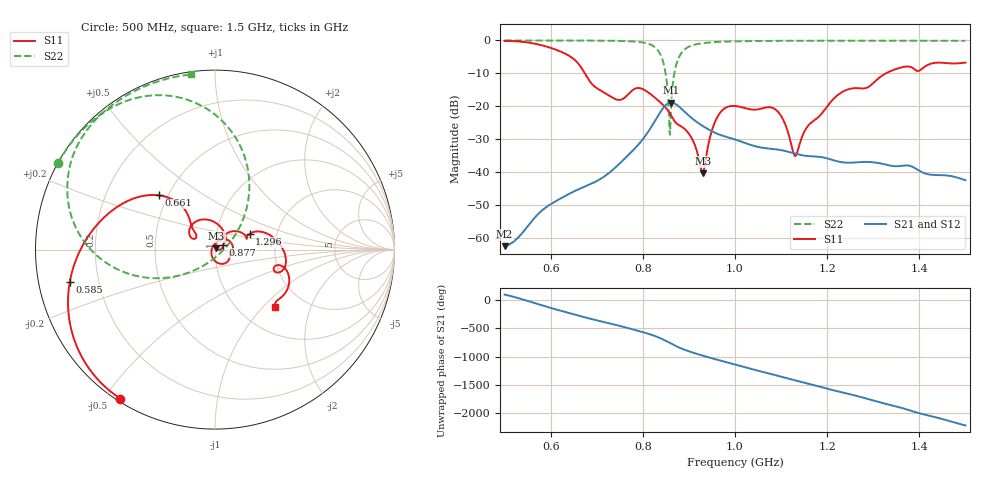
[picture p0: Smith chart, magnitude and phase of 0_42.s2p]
! TOUCHSTONE file generated by CST MICROWAVE STUDIO
! Date and time: Sat Oct 24 11:17:44 2020
! Project name: Scenario_1_Circular_Tissue_in_Line.cst
! Parameters = {L_HA=400; MT=2.54; Rad_Dielectric=30; Rad_Lower=7.3; Rad_Upper=30; a_HA=580; a_WG=246; b_HA=500; b_WG=121; c_HA=0; c_WG=187; d_feed=85; dx1=883.12; h_feed=15; h_lower=18; h_upper=40}
! Header version: 2018
! Port assignment regex: !\s*Touchstone port\s*([0-9]+)\s*=\s*(CST MWS port|CST DS port)\s*([0-9]+|Zmin|Zmax)\s*\(\"(.*)\"\)(\s*mode\s*([0-9]+))?.*
! Touchstone port assignment:
! Touchstone port 1 = CST MWS port 1 ("")
! Touchstone port 2 = CST MWS port 2 ("")
# GHz S DB R 50
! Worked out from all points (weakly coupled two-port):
!   1003 points, 500 MHz to 1.5 GHz, reference 50 ohm
!   highest |S21| = -18.88 dB at 861 MHz (marker M1); lowest = -62.5 dB at 500 MHz (marker M2)
!   lowest |S11| = -40.4 dB at 930 MHz (marker M3), VSWR 1.02, Z = 50.7 + j0.628 ohm
!   |S11| at or under -10 dB: 674 MHz to 1.328 GHz (653.5 MHz wide, 65.3 % of centre)
!   |S22| runs from -28.7 to 0.0 dB; largest |S21 - S12| = 1.1e-05
!   S11 on the Smith chart (normalised r, x): 500 MHz: 0.01, -0.55; 585 MHz: 0.09, -0.11; 661 MHz: 0.45, +0.33; 877 MHz: 1.09, +0.06; 1.296 GHz: 1.45, +0.27; 1.5 GHz: 1.43, -1.17
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0.5  -0.15 -122.5  -62.51 89.5  -62.51 89.5  -0.01 151.1
0.585  -1.63 -167.5  -51.22 -109.8  -51.22 -109.8  -0.02 145.2
0.661  -7.23 135.9  -45.19 77.7  -45.19 77.7  -0.04 138.9
0.667  -8.40 131.2  -44.82 64.6  -44.82 64.6  -0.04 138.4
0.74  -17.80 143.6  -38.66 -81.0  -38.66 -81.0  -0.13 129.3
0.779  -14.99 143.7  -33.35 -164.3  -33.35 -164.3  -0.32 120.8
0.834  -18.31 70.8  -22.66 56.3  -22.66 56.3  -3.27 84.0
0.848  -20.20 54.1  -19.89 3.6  -19.89 3.6  -8.90 58.2
0.856  -21.60 44.1  -19.04 -30.2  -19.04 -30.2  -20.24 27.0
0.861  -22.70 38.4  -18.88 -51.7  -18.88 -51.7  -20.97 -120.0
0.867  -24.14 34.3  -19.05 -76.7  -19.05 -76.7  -11.12 -146.9
0.877  -25.62 31.5  -19.93 -115.3  -19.93 -115.3  -5.56 -166.5
0.93  -40.38 40.3  -26.00 95.5  -26.00 95.5  -0.83 154.6
0.96  -23.73 62.2  -28.26 27.2  -28.26 27.2  -0.47 146.9
1  -19.92 2.2  -30.08 -61.1  -30.08 -61.1  -0.28 140.3
1.089  -21.10 -64.5  -33.09 110.6  -33.09 110.6  -0.13 130.7
1.13  -35.08 166.8  -34.39 22.4  -34.39 22.4  -0.11 127.2
1.167  -24.78 57.8  -35.20 -52.5  -35.20 -52.5  -0.10 124.2
1.23  -15.89 39.4  -36.96 175.0  -36.96 175.0  -0.08 119.4
1.296  -13.47 24.5  -36.98 36.7  -36.98 36.7  -0.09 114.4
1.334  -9.54 11.4  -37.95 -44.2  -37.95 -44.3  -0.09 111.5
1.5  -6.72 -44.0  -42.47 -50.7  -42.47 -50.7  -0.13 97.9
